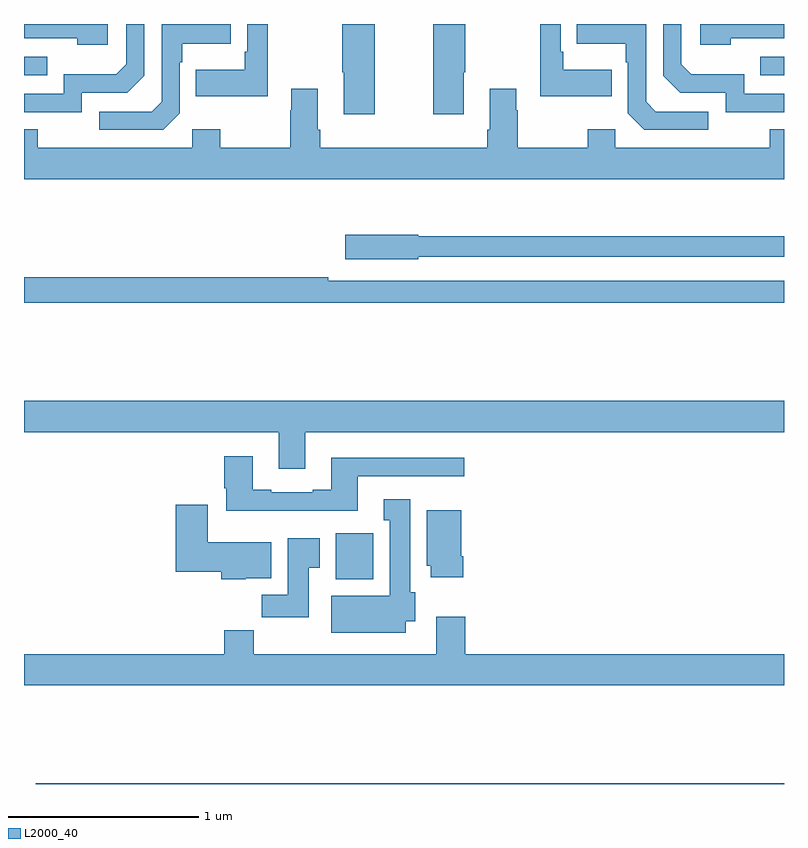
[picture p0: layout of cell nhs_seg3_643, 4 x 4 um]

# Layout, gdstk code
import gdstk
lib = gdstk.Library(unit=1e-6, precision=1e-09)
def R(c, l, rs):  # rectangles x0, y0, x1, y1
    for r in rs: c.add(gdstk.rectangle(r[:2], r[2:], *l))
def P(c, l, *ps):  # polygons
    for p in ps: c.add(gdstk.Polygon(p, *l))
L2000_40 = (2000, 40)

nhs_seg3_643 = lib.new_cell('nhs_seg3_643')
R(nhs_seg3_643, L2000_40, [(143.063,696.4,147,696.404), (144.641,697.478,144.838,697.72), (143,700.131,143.123,700.227), (146.875,700.131,147,700.227)])
P(nhs_seg3_643, L2000_40, [(146.093,700.159),(145.837,700.159),(145.837,700.255),(145.824,700.255),(145.824,700.4),(145.716,700.4),(145.716,700.019),(146.093,700.019)],
  [(147,700.032),(146.79,700.032),(146.79,700.135),(146.513,700.135),(146.46,700.188),(146.46,700.4),(146.364,700.4),(146.364,700.128),(146.454,700.038),(146.694,700.038),(146.694,699.936),(147,699.936)],
  [(146.72,700.326),(147,700.326),(147,700.4),(146.559,700.4),(146.559,700.292),(146.72,700.292)],
  [(144.283,700.4),(144.174,700.4),(144.174,700.255),(144.162,700.255),(144.162,700.159),(143.905,700.159),(143.905,700.019),(144.283,700.019)],
  [(143.82,699.93),(143.82,700.199),(143.833,700.199),(143.833,700.295),(144.089,700.295),(144.089,700.4),(143.724,700.4),(143.724,699.99),(143.673,699.939),(143.397,699.939),(143.397,699.843),(143.733,699.843)],
  [(145.315,700.147),(145.323,700.147),(145.323,700.4),(145.153,700.4),(145.153,699.924),(145.315,699.924)],
  [(144.846,700.4),(144.676,700.4),(144.676,700.147),(144.683,700.147),(144.683,699.924),(144.846,699.924)],
  [(146.602,699.939),(146.325,699.939),(146.274,699.99),(146.274,700.4),(145.909,700.4),(145.909,700.295),(146.166,700.295),(146.166,700.199),(146.178,700.199),(146.178,699.93),(146.265,699.843),(146.602,699.843)],
  [(143.44,700.4),(143,700.4),(143,700.326),(143.279,700.326),(143.279,700.292),(143.44,700.292)],
  [(143.304,700.038),(143.544,700.038),(143.634,700.128),(143.634,700.4),(143.538,700.4),(143.538,700.188),(143.485,700.135),(143.208,700.135),(143.208,700.032),(143,700.032),(143,699.936),(143.304,699.936)],
  [(143.886,699.847),(143.886,699.748),(143.073,699.748),(143.073,699.847),(143,699.847),(143,699.584),(147,699.584),(147,699.847),(146.926,699.847),(146.926,699.748),(146.112,699.748),(146.112,699.847),(145.966,699.847),(145.966,699.748),(145.599,699.748),(145.599,699.947),(145.591,699.947),(145.591,700.06),(145.451,700.06),(145.451,699.844),(145.439,699.844),(145.439,699.748),(144.56,699.748),(144.56,699.844),(144.547,699.844),(144.547,700.06),(144.407,700.06),(144.407,699.947),(144.4,699.947),(144.4,699.748),(144.033,699.748),(144.033,699.847)],
  [(145.074,699.174),(147,699.174),(147,699.283),(145.074,699.283),(145.074,699.291),(144.69,699.291),(144.69,699.161),(145.074,699.161)],
  [(147,699.048),(144.602,699.048),(144.602,699.068),(143,699.068),(143,698.932),(147,698.932)],
  [(144.481,698.252),(147,698.252),(147,698.416),(143,698.416),(143,698.252),(144.341,698.252),(144.341,698.058),(144.481,698.058)],
  [(144.757,698.019),(145.318,698.019),(145.318,698.116),(144.617,698.116),(144.617,697.948),(144.521,697.948),(144.521,697.935),(144.301,697.935),(144.301,697.948),(144.205,697.948),(144.205,698.125),(144.053,698.125),(144.053,697.957),(144.065,697.957),(144.065,697.838),(144.757,697.838)],
  [(145.009,697.256),(145.06,697.256),(145.06,697.41),(145.033,697.41),(145.033,697.9),(144.893,697.9),(144.893,697.787),(144.926,697.787),(144.926,697.39),(144.617,697.39),(144.617,697.196),(145.009,697.196)],
  [(144.168,697.484),(144.301,697.484),(144.301,697.672),(143.968,697.672),(143.968,697.87),(143.798,697.87),(143.798,697.517),(144.038,697.517),(144.038,697.478),(144.168,697.478)],
  [(145.313,697.6),(145.3,697.6),(145.3,697.84),(145.121,697.84),(145.121,697.548),(145.142,697.548),(145.142,697.488),(145.313,697.488)],
  [(144.499,697.537),(144.556,697.537),(144.556,697.693),(144.389,697.693),(144.389,697.396),(144.25,697.396),(144.25,697.278),(144.499,697.278)],
  [(147,697.084),(145.322,697.084),(145.322,697.279),(145.169,697.279),(145.169,697.084),(144.209,697.084),(144.209,697.208),(144.053,697.208),(144.053,697.084),(143,697.084),(143,696.92),(147,696.92)])

lib.write_gds('nhs_seg3_643.gds')
